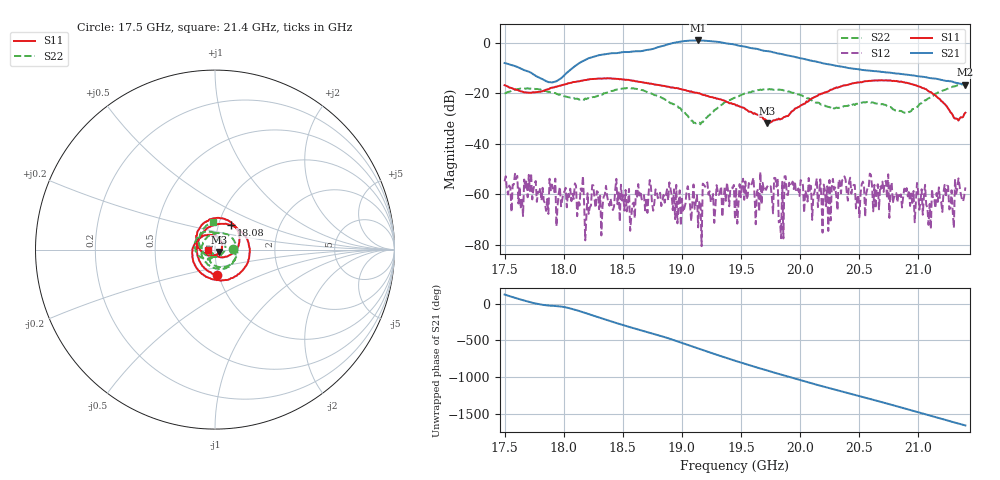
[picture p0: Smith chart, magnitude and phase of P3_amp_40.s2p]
!Created with skrf (http://scikit-rf.org).
# GHz S RI R 50.0
!freq ReS11 ImS11 ReS21 ImS21 ReS12 ImS12 ReS22 ImS22
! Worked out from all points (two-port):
!   401 points, 17.5 GHz to 21.4 GHz, reference 50 ohm
!   highest |S21| = 0.83 dB at 19.14 GHz (marker M1); lowest = -16.7 dB at 21.4 GHz (marker M2)
!   |S21| within 3 dB of the highest: 18.78 GHz to 19.58 GHz (806 MHz wide, 4.2 % of centre)
!   lowest |S11| = -31.8 dB at 19.72 GHz (marker M3), VSWR 1.05, Z = 52.3 - j1.36 ohm
!   |S11| at or under -10 dB: start of sweep to end of sweep
!   |S22| runs from -32.3 to -16.3 dB; largest |S21 - S12| = 1.1
!   S11 on the Smith chart (normalised r, x): 17.5 GHz: 0.98, -0.29; 18.08 GHz: 1.15, +0.32; 21.4 GHz: 0.92, -0.00
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17.5  0.0088 -0.1432  -0.2321 0.3179  -0.00157 0.000871  0.0984 0.000839
18.07525  0.0895 0.1375  0.0989 -0.2975  0.00101 0.000179  -0.0735 -0.0306
18.15325  0.1412 0.1046  -0.1428 -0.3938  0.000477 -0.00104  -0.0737 0.0169
18.30925  0.1938 -0.0129  -0.5538 0.1291  0.000435 -0.000825  0.00412 0.0901
18.48475  0.1214 -0.146  0.1283 0.6269  0.000328 -0.0015  0.1182 0.0258
18.58225  0.042 -0.1708  0.5675 0.3435  0.00052 -0.000359  0.1119 -0.0541
18.6505  -0.012 -0.1658  0.674 -0.00626  0.00113 0.000168  0.0741 -0.0897
18.8065  -0.1062 -0.098  0.2595 -0.7795  -0.000779 -0.000521  -0.0095 -0.0839
18.904  -0.1249 -0.034  -0.491 -0.8157  -0.000716 -0.00105  -0.0304 -0.0551
19.0015  -0.1149 0.0257  -1.051 -0.1009  -0.000611 -0.000538  -0.0328 -0.03
19.138  -0.063 0.0771  -0.3664 1.038  4.19e-05 -0.000217  -0.0154 -0.0203
19.30375  0.00363 0.0778  0.978 0.3404  0.00114 0.000195  -0.0198 -0.0472
19.45  0.0338 0.0493  0.4844 -0.7656  0.000311 4.05e-05  -0.0653 -0.0488
19.723  0.0222 -0.013  -0.6638 0.1288  -6.32e-05 -0.00143  -0.105 0.0524
19.801  0.00949 -0.0286  -0.4052 0.4673  0.000241 -0.00138  -0.0806 0.0864
19.84  0.00034 -0.0308  -0.2288 0.5492  -0.000131 -3.14e-05  -0.064 0.0963
19.88875  -0.0152 -0.0318  0.000732 0.5593  -0.000867 -0.000466  -0.0441 0.1005
20.10325  -0.0789 -0.00586  0.4295 -0.062  8.96e-05 0.000297  0.0146 0.0695
20.464  -0.0686 0.1432  -0.2915 -0.0801  -0.00146 0.000403  0.0191 0.0549
20.7565  0.0851 0.1545  0.0947 0.2365  0.000145 0.000307  0.0525 -0.00452
21.088  0.1089 -0.00825  0.0291 -0.1979  0.000214 -0.000124  -0.0788 0.0037
21.4  -0.0409 -0.000122  -0.1095 0.0978  -0.000674 -0.00119  -0.00859 0.1527
